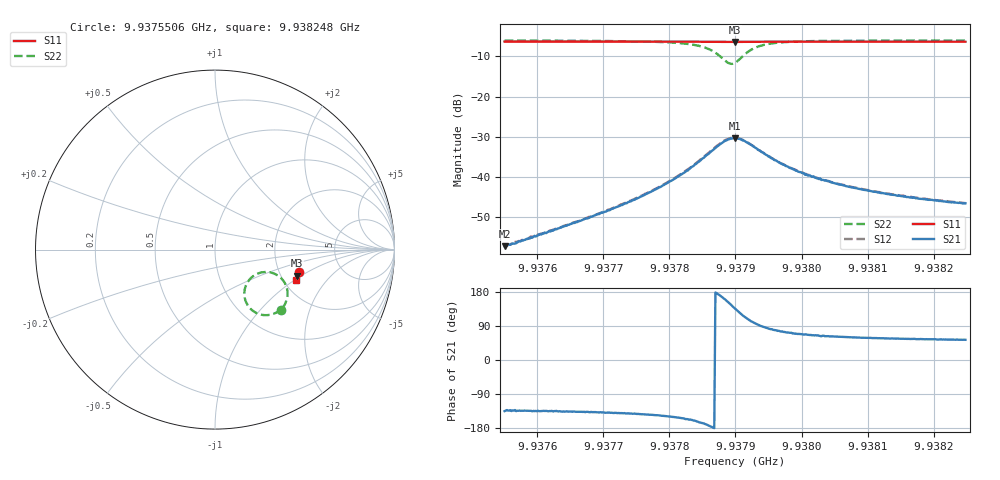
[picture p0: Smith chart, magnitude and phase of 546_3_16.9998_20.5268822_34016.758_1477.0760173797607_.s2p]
#  HZ  S  RI  R  50.00
! Rohde & Schwarz Vector Network Analyzer
! Rohde-Schwarz,ZNB20-2Port,1311601062101988,3.16
! Created: UTC 3/20/2024, 11:16:37 PM
! freq[Hz]  re:S11  im:S11  re:S21  im:S21  re:S12  im:S12  re:S22  im:S22
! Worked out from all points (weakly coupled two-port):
!   401 points, 9.9375506 GHz to 9.938248 GHz, reference 50 ohm
!   highest |S21| = -30.32 dB at 9.9378993 GHz (marker M1); lowest = -57.1 dB at 9.9375506 GHz (marker M2)
!   lowest |S11| = -6.4 dB at 9.9378993 GHz (marker M3), VSWR 2.83, Z = 121 - j45.7 ohm
!   |S11| at or under -10 dB: nowhere
!   |S22| runs from -11.9 to -6.1 dB; largest |S21 - S12| = 0.0013
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9.93755061e9  0.4661 -0.1248  -0.000983 -0.000985  -0.000977 -0.00101  0.3665 -0.3342
9.93756804e9  0.4656 -0.1262  -0.00107 -0.00107  -0.00112 -0.00111  0.3645 -0.3358
9.93766742e9  0.4634 -0.1328  -0.00213 -0.002  -0.0022 -0.00197  0.3502 -0.3459
9.9377389e9  0.4615 -0.1376  -0.00383 -0.00311  -0.00393 -0.00307  0.3315 -0.3556
9.93778423e9  0.4601 -0.1407  -0.0062 -0.00416  -0.00633 -0.00409  0.3093 -0.3627
9.93782608e9  0.4587 -0.1436  -0.011 -0.00491  -0.0112 -0.00487  0.2683 -0.3645
9.93785572e9  0.457 -0.1456  -0.0183 -0.00326  -0.0187 -0.00296  0.211 -0.3409
9.93786792e9  0.4561 -0.1461  -0.0224 -0.000103  -0.0229 0.000686  0.1816 -0.3086
9.93788187e9  0.4551 -0.1461  -0.0263 0.00808  -0.0265 0.00895  0.1635 -0.2406
9.93789058e9  0.4546 -0.1458  -0.0256 0.0149  -0.0258 0.0159  0.1784 -0.187
9.93789407e9  0.4548 -0.1457  -0.0245 0.0175  -0.0244 0.0187  0.192 -0.1674
9.9378993e9  0.4548 -0.1454  -0.0218 0.0213  -0.0214 0.0224  0.2192 -0.1434
9.93791325e9  0.4556 -0.1457  -0.0118 0.0258  -0.011 0.0263  0.3043 -0.1263
9.93792545e9  0.4563 -0.1464  -0.00462 0.0242  -0.00365 0.0245  0.3579 -0.1502
9.9379394e9  0.4565 -0.1476  0.000315 0.0205  0.000799 0.0207  0.3887 -0.1858
9.93797253e9  0.4563 -0.1506  0.00389 0.0137  0.0043 0.0138  0.4045 -0.2455
9.93799345e9  0.4558 -0.1521  0.00432 0.0111  0.00441 0.0112  0.4023 -0.2672
9.93801611e9  0.4553 -0.1537  0.00426 0.00914  0.00445 0.00924  0.3986 -0.283
9.93807016e9  0.4539 -0.1576  0.00379 0.00665  0.00395 0.00667  0.3891 -0.3051
9.93813293e9  0.4521 -0.1618  0.00335 0.00514  0.0035 0.00515  0.3802 -0.3195
9.93817651e9  0.4511 -0.1645  0.00309 0.00445  0.00323 0.00447  0.3752 -0.326
9.938248e9  0.449 -0.1692  0.00283 0.0038  0.00291 0.00378  0.3682 -0.3348
